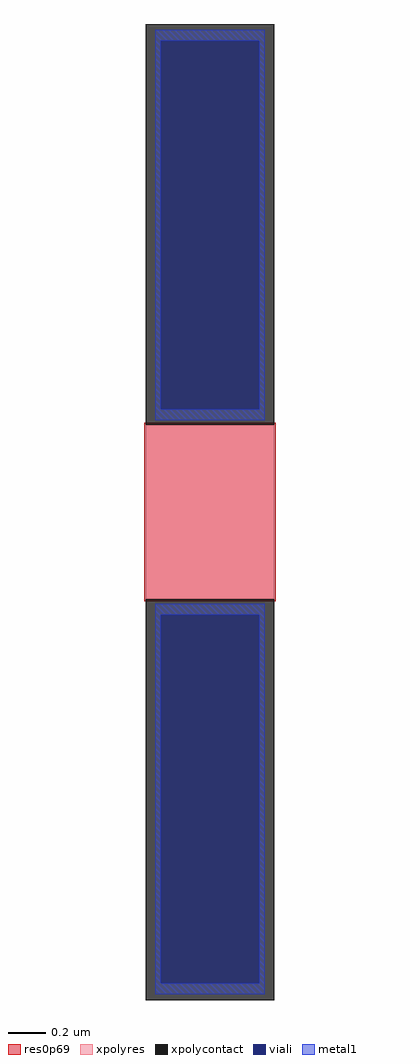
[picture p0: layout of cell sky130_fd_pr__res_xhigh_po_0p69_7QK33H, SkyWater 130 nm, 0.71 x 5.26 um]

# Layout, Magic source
magic
tech sky130A
magscale 1 2
<< xpolycontact >>
rect -69 94 69 526
rect -69 -526 69 -94
<< xpolyres >>
rect -69 -94 69 94
<< viali >>
rect -53 111 53 508
rect -53 -508 53 -111
<< metal1 >>
rect -59 508 59 520
rect -59 111 -53 508
rect 53 111 59 508
rect -59 99 59 111
rect -59 -111 59 -99
rect -59 -508 -53 -111
rect 53 -508 59 -111
rect -59 -520 59 -508
<< res0p69 >>
rect -71 -96 71 96
<< properties >>
string gencell sky130_fd_pr__res_xhigh_po_0p69
string library sky130
string parameters w 0.690 l 0.94 m 1 nx 1 wmin 0.690 lmin 0.50 rho 2000 val 3.27k dummy 0 dw 0.0 term 188.2 sterm 0.0 caplen 0 wmax 0.690 guard 0 glc 1 grc 1 gtc 1 gbc 1 compatible {sky130_fd_pr__res_xhigh_po_0p35  sky130_fd_pr__res_xhigh_po_0p69 sky130_fd_pr__res_xhigh_po_1p41  sky130_fd_pr__res_xhigh_po_2p85 sky130_fd_pr__res_xhigh_po_5p73} snake 0 full_metal 0 n_guard 0 hv_guard 0 vias 1 viagb 0 viagt 0 viagl 0 viagr 0
<< end >>
